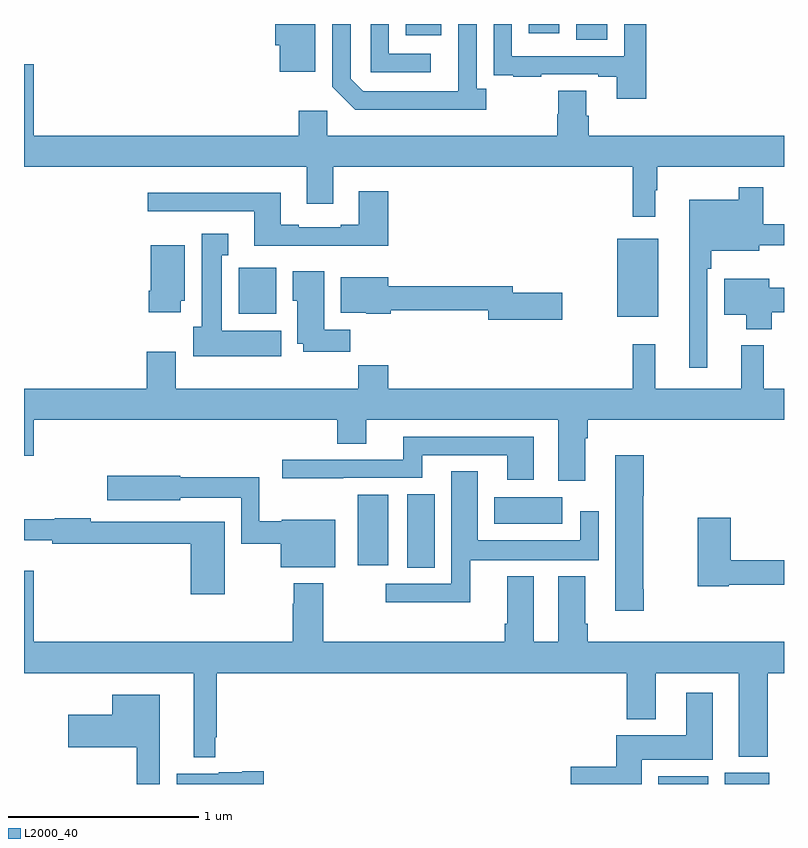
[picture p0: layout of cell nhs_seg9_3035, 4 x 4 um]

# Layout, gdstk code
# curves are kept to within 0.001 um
import gdstk
lib = gdstk.Library(unit=1e-6, precision=1e-09)
def R(c, l, rs):  # rectangles x0, y0, x1, y1
    for r in rs: c.add(gdstk.rectangle(r[:2], r[2:], *l))
def P(c, l, *ps):  # polygons
    for p in ps: c.add(gdstk.Polygon(p, *l))
L2000_40 = (2000, 40)

nhs_seg9_3035 = lib.new_cell('nhs_seg9_3035')
R(nhs_seg9_3035, L2000_40, [(288.338,1198.5,288.601,1198.54), (288.689,1198.5,288.922,1198.558), (287.018,1199.638,287.161,1200.026), (286.757,1199.652,286.918,1200.022), (287.474,1199.87,287.833,1200.01), (288.122,1200.959,288.337,1201.369), (286.13,1200.974,286.327,1201.216), (287.906,1202.416,288.07,1202.5), (287.009,1202.441,287.197,1202.5), (287.657,1202.451,287.818,1202.5)])
P(nhs_seg9_3035, L2000_40, [(286.534,1202.5),(286.322,1202.5),(286.322,1202.388),(286.346,1202.388),(286.346,1202.249),(286.534,1202.249)],
  [(287.434,1202.158),(287.382,1202.158),(287.382,1202.5),(287.286,1202.5),(287.285,1202.145),(286.785,1202.145),(286.719,1202.211),(286.719,1202.5),(286.623,1202.5),(286.623,1202.169),(286.744,1202.048),(287.434,1202.048)],
  [(287.14,1202.343),(286.92,1202.343),(286.92,1202.5),(286.824,1202.5),(286.824,1202.247),(287.14,1202.247)],
  [(288.275,1202.5),(288.159,1202.5),(288.159,1202.331),(287.568,1202.331),(287.568,1202.5),(287.472,1202.5),(287.472,1202.338),(287.473,1202.338),(287.473,1202.229),(287.575,1202.229),(287.575,1202.223),(287.723,1202.223),(287.723,1202.235),(288.023,1202.235),(288.023,1202.223),(288.119,1202.223),(288.119,1202.106),(288.275,1202.106)],
  [(288.322,1201.625),(288.334,1201.625),(288.334,1201.748),(289,1201.748),(289,1201.912),(287.972,1201.912),(287.972,1202.018),(287.959,1202.018),(287.959,1202.15),(287.812,1202.15),(287.812,1202.025),(287.807,1202.025),(287.807,1201.912),(286.596,1201.912),(286.596,1202.044),(286.445,1202.044),(286.445,1201.912),(285.052,1201.912),(285.052,1202.287),(285,1202.287),(285,1201.748),(286.487,1201.748),(286.487,1201.554),(286.627,1201.554),(286.627,1201.748),(288.205,1201.748),(288.205,1201.485),(288.322,1201.485)],
  [(288.597,1201.211),(288.617,1201.211),(288.617,1201.307),(288.871,1201.307),(288.871,1201.336),(289,1201.336),(289,1201.447),(288.89,1201.447),(288.89,1201.642),(288.762,1201.642),(288.762,1201.576),(288.5,1201.576),(288.5,1200.69),(288.597,1200.69)],
  [(286.916,1201.621),(286.763,1201.621),(286.763,1201.444),(286.667,1201.444),(286.667,1201.431),(286.447,1201.431),(286.447,1201.444),(286.351,1201.444),(286.351,1201.612),(285.651,1201.612),(285.651,1201.515),(286.211,1201.515),(286.211,1201.334),(286.916,1201.334)],
  [(286.354,1200.886),(286.042,1200.886),(286.042,1201.283),(286.075,1201.283),(286.075,1201.396),(285.935,1201.396),(285.935,1200.906),(285.89,1200.906),(285.89,1200.752),(286.354,1200.752)],
  [(285.826,1201.044),(285.847,1201.044),(285.847,1201.336),(285.668,1201.336),(285.668,1201.096),(285.656,1201.096),(285.656,1200.984),(285.826,1200.984)],
  [(286.718,1200.892),(286.579,1200.892),(286.579,1201.198),(286.415,1201.198),(286.415,1201.044),(286.439,1201.044),(286.439,1200.818),(286.469,1200.818),(286.469,1200.774),(286.718,1200.774)],
  [(287.833,1201.085),(287.572,1201.085),(287.572,1201.121),(286.918,1201.121),(286.918,1201.168),(286.667,1201.168),(286.667,1200.98),(286.8,1200.98),(286.8,1200.974),(286.931,1200.974),(286.931,1200.993),(287.444,1200.993),(287.444,1200.943),(287.833,1200.943)],
  [(288.935,1200.982),(289,1200.982),(289,1201.111),(288.922,1201.111),(288.922,1201.159),(288.686,1201.159),(288.686,1200.971),(288.8,1200.971),(288.8,1200.893),(288.935,1200.893)],
  [(287.953,1200.32),(287.966,1200.32),(287.966,1200.416),(289,1200.416),(289,1200.58),(288.893,1200.58),(288.893,1200.808),(288.776,1200.808),(288.776,1200.58),(288.323,1200.58),(288.323,1200.814),(288.205,1200.814),(288.205,1200.58),(286.916,1200.58),(286.916,1200.704),(286.759,1200.704),(286.759,1200.58),(285.799,1200.58),(285.799,1200.775),(285.647,1200.775),(285.647,1200.58),(285,1200.58),(285,1200.228),(285.052,1200.228),(285.052,1200.416),(286.649,1200.416),(286.649,1200.292),(286.801,1200.292),(286.801,1200.416),(287.813,1200.416),(287.813,1200.096),(287.953,1200.096)],
  [(287.683,1200.327),(286.997,1200.327),(286.997,1200.207),(286.359,1200.207),(286.359,1200.109),(286.679,1200.109),(286.679,1200.111),(287.095,1200.111),(287.095,1200.231),(287.543,1200.231),(287.543,1200.102),(287.683,1200.102)],
  [(288.263,1199.524),(288.258,1199.524),(288.258,1200.016),(288.263,1200.016),(288.263,1200.229),(288.113,1200.229),(288.113,1199.412),(288.263,1199.412)],
  [(287.348,1199.678),(288.024,1199.678),(288.024,1199.935),(287.928,1199.935),(287.928,1199.782),(287.389,1199.782),(287.389,1200.146),(287.249,1200.146),(287.249,1199.553),(286.905,1199.553),(286.905,1199.456),(287.348,1199.456)],
  [(286.639,1199.89),(286.356,1199.89),(286.356,1199.883),(286.239,1199.883),(286.239,1200.115),(285.822,1200.115),(285.822,1200.123),(285.438,1200.123),(285.438,1199.993),(285.822,1199.993),(285.822,1200.006),(286.143,1200.006),(286.143,1199.764),(286.352,1199.764),(286.352,1199.642),(286.639,1199.642)],
  [(288.708,1199.55),(289,1199.55),(289,1199.678),(288.72,1199.678),(288.72,1199.902),(288.547,1199.902),(288.547,1199.542),(288.708,1199.542)],
  [(286.056,1199.88),(285.35,1199.88),(285.35,1199.9),(285.161,1199.9),(285.161,1199.893),(285,1199.893),(285,1199.783),(285.148,1199.783),(285.148,1199.764),(285.878,1199.764),(285.878,1199.499),(286.056,1199.499)],
  [(286.007,1198.747),(286.015,1198.747),(286.015,1199.084),(288.173,1199.084),(288.173,1198.841),(288.325,1198.841),(288.325,1199.084),(288.761,1199.084),(288.761,1198.643),(288.914,1198.643),(288.914,1199.084),(289,1199.084),(289,1199.248),(287.966,1199.248),(287.966,1199.344),(287.953,1199.344),(287.953,1199.593),(287.813,1199.593),(287.813,1199.248),(287.683,1199.248),(287.683,1199.593),(287.543,1199.593),(287.543,1199.344),(287.531,1199.344),(287.531,1199.248),(286.575,1199.248),(286.575,1199.557),(286.42,1199.557),(286.42,1199.45),(286.415,1199.45),(286.415,1199.248),(285.052,1199.248),(285.052,1199.623),(285,1199.623),(285,1199.084),(285.893,1199.084),(285.893,1198.64),(286.007,1198.64)],
  [(288.25,1198.628),(288.625,1198.628),(288.625,1198.981),(288.485,1198.981),(288.485,1198.756),(288.116,1198.756),(288.116,1198.592),(287.877,1198.592),(287.877,1198.5),(288.25,1198.5)],
  [(285.715,1198.969),(285.464,1198.969),(285.464,1198.864),(285.234,1198.864),(285.234,1198.694),(285.594,1198.694),(285.594,1198.5),(285.715,1198.5)],
  [(286.261,1198.568),(286.148,1198.568),(286.148,1198.561),(286.026,1198.561),(286.026,1198.555),(285.803,1198.555),(285.803,1198.5),(286.261,1198.5)])

lib.write_gds('nhs_seg9_3035.gds')
